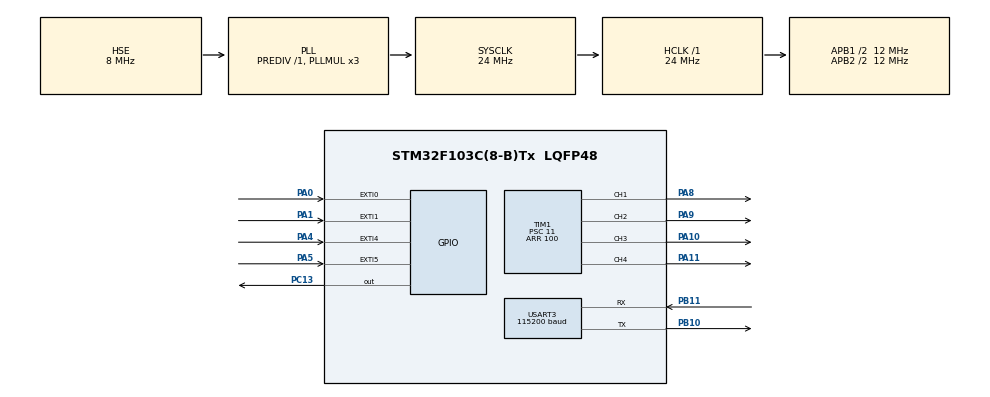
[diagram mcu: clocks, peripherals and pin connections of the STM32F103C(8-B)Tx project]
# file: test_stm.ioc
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Dma.Request0=USART3_TX
Dma.Request1=USART3_RX
Dma.USART3_RX.1.Direction=DMA_PERIPH_TO_MEMORY
Dma.USART3_RX.1.Instance=DMA1_Channel3
Dma.USART3_RX.1.MemDataAlignment=DMA_MDATAALIGN_BYTE
Dma.USART3_RX.1.MemInc=DMA_MINC_ENABLE
Dma.USART3_RX.1.Mode=DMA_NORMAL
Dma.USART3_RX.1.PeriphDataAlignment=DMA_PDATAALIGN_BYTE
Dma.USART3_RX.1.PeriphInc=DMA_PINC_DISABLE
Dma.USART3_RX.1.Priority=DMA_PRIORITY_MEDIUM
Dma.USART3_TX.0.Direction=DMA_MEMORY_TO_PERIPH
Dma.USART3_TX.0.Instance=DMA1_Channel2
Dma.USART3_TX.0.MemDataAlignment=DMA_MDATAALIGN_BYTE
Dma.USART3_TX.0.MemInc=DMA_MINC_ENABLE
Dma.USART3_TX.0.Mode=DMA_NORMAL
Dma.USART3_TX.0.PeriphDataAlignment=DMA_PDATAALIGN_BYTE
Dma.USART3_TX.0.PeriphInc=DMA_PINC_DISABLE
Dma.USART3_TX.0.Priority=DMA_PRIORITY_MEDIUM
Mcu.Family=STM32F1
Mcu.Name=STM32F103C(8-B)Tx
Mcu.Package=LQFP48
NVIC.DMA1_Channel2_IRQn=true\:2\:0\:true\:false\:true\:false\:true\:true
NVIC.DMA1_Channel3_IRQn=true\:2\:0\:true\:false\:true\:false\:true\:true
NVIC.EXTI0_IRQn=true\:0\:0\:false\:false\:true\:true\:true\:true
NVIC.EXTI1_IRQn=true\:0\:0\:false\:false\:true\:true\:true\:true
NVIC.EXTI4_IRQn=true\:0\:0\:false\:false\:true\:true\:true\:true
NVIC.EXTI9_5_IRQn=true\:0\:0\:false\:false\:true\:true\:true\:true
NVIC.PriorityGroup=NVIC_PRIORITYGROUP_4
NVIC.TIM2_IRQn=true\:1\:0\:true\:false\:true\:true\:true\:true
NVIC.USART3_IRQn=true\:2\:0\:true\:false\:true\:true\:true\:true
PA0-WKUP.GPIO_ModeDefaultEXTI=GPIO_MODE_IT_RISING_FALLING
PA0-WKUP.GPIO_PuPd=GPIO_PULLUP
PA0-WKUP.Signal=GPXTI0
PA1.GPIO_ModeDefaultEXTI=GPIO_MODE_IT_RISING_FALLING
PA1.GPIO_PuPd=GPIO_PULLUP
PA1.Signal=GPXTI1
PA10.Signal=S_TIM1_CH3
PA11.Signal=S_TIM1_CH4
PA13.Mode=Serial_Wire
PA13.Signal=SYS_JTMS-SWDIO
PA14.Mode=Serial_Wire
PA14.Signal=SYS_JTCK-SWCLK
PA4.GPIO_ModeDefaultEXTI=GPIO_MODE_IT_RISING_FALLING
PA4.GPIO_PuPd=GPIO_PULLUP
PA4.Signal=GPXTI4
PA5.GPIO_ModeDefaultEXTI=GPIO_MODE_IT_RISING_FALLING
PA5.GPIO_PuPd=GPIO_PULLUP
PA5.Signal=GPXTI5
PA8.Signal=S_TIM1_CH1
PA9.Signal=S_TIM1_CH2
PB10.Mode=Asynchronous
PB10.Signal=USART3_TX
PB11.Mode=Asynchronous
PB11.Signal=USART3_RX
PC13-TAMPER-RTC.Signal=GPIO_Output
PD0-OSC_IN.Mode=HSE-External-Oscillator
PD0-OSC_IN.Signal=RCC_OSC_IN
PD1-OSC_OUT.Mode=HSE-External-Oscillator
PD1-OSC_OUT.Signal=RCC_OSC_OUT
ProjectManager.HeapSize=0x200
ProjectManager.StackSize=0x400
ProjectManager.TargetToolchain=MDK-ARM V5.32
RCC.AHBFreq_Value=24000000
RCC.APB1CLKDivider=RCC_HCLK_DIV2
RCC.APB1Freq_Value=12000000
RCC.APB1TimFreq_Value=24000000
RCC.APB2CLKDivider=RCC_HCLK_DIV2
RCC.APB2Freq_Value=12000000
RCC.APB2TimFreq_Value=24000000
RCC.HCLKFreq_Value=24000000
RCC.PLLMUL=RCC_PLL_MUL3
RCC.PLLSourceVirtual=RCC_PLLSOURCE_HSE
RCC.SYSCLKFreq_VALUE=24000000
RCC.SYSCLKSource=RCC_SYSCLKSOURCE_PLLCLK
RCC.USBFreq_Value=24000000
SH.S_TIM1_CH1.0=TIM1_CH1,PWM Generation1 CH1
SH.S_TIM1_CH2.0=TIM1_CH2,PWM Generation2 CH2
SH.S_TIM1_CH3.0=TIM1_CH3,PWM Generation3 CH3
SH.S_TIM1_CH4.0=TIM1_CH4,PWM Generation4 CH4
TIM1.Channel-PWM\ Generation1\ CH1=TIM_CHANNEL_1
TIM1.Channel-PWM\ Generation2\ CH2=TIM_CHANNEL_2
TIM1.Channel-PWM\ Generation3\ CH3=TIM_CHANNEL_3
TIM1.Channel-PWM\ Generation4\ CH4=TIM_CHANNEL_4
TIM1.Period=100
TIM1.Prescaler=11
TIM2.Period=19
TIM2.Prescaler=23999
USART3.BaudRate=115200
USART3.VirtualMode=VM_ASYNC
VP_TIM2_VS_ClockSourceINT.Mode=Internal
board=custom

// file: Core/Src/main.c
/* USER CODE BEGIN Header */
/**
 ******************************************************************************
 * @file           : main.c
 * @brief          : Main program body
 ******************************************************************************
 * @attention
 *
 * Copyright (c) 2025 STMicroelectronics.
 * All rights reserved.
 *
 * This software is licensed under terms that can be found in the LICENSE file
 * in the root directory of this software component.
 * If no LICENSE file comes with this software, it is provided AS-IS.
 *
 ******************************************************************************
 */
/* USER CODE END Header */
#include "main.h"

/* USER CODE BEGIN Includes */
#include "string.h"
#include "stdio.h"
#include "stdlib.h"
#include "stdbool.h"
#include "driver_motors.h"
#include <math.h>

/* USER CODE END Includes */

/* USER CODE BEGIN PD */
#define LEFT_ENCODER_CHANNEL_1  GPIO_PIN_0
#define LEFT_ENCODER_CHANNEL_2  GPIO_PIN_1
#define RIGHT_ENCODER_CHANNEL_1 GPIO_PIN_4
#define RIGHT_ENCODER_CHANNEL_2 GPIO_PIN_5
#define ROS_TIMEOUT             (uint32_t)120000

#define UART_PACKET_SIZE 11

#define UART_TX_POLLING 0x01
#define UART_TX_DMA     0x02
#define UART_TX_MODE    UART_TX_DMA

#define UART_RX_IT   0x03
#define UART_RX_DMA  0x04
#define UART_RX_MODE UART_RX_DMA

/* USER CODE END PD */

TIM_HandleTypeDef htim1;
TIM_HandleTypeDef htim2;

UART_HandleTypeDef huart3;
DMA_HandleTypeDef  hdma_usart3_tx;
DMA_HandleTypeDef  hdma_usart3_rx;

/* USER CODE BEGIN PV */
// ============================== variables for velocity control =============================//
float vel_rad_s_left  = 0.0f;
float vel_rad_s_right = 0.0f;

volatile uint32_t ecd_pulse_non_direction_left  = 0;
volatile uint32_t ecd_pulse_non_direction_right = 0;

// velocities received command from rasp (linear and angular)
volatile float Vx = 0.0f;
volatile float Vw = 0.0f;
// transform command into velocitie for each wheel
float V_left_required  = 0.0f;
float V_right_required = 0.0f;
// value that will be passed into the pid calculation function
float V_left  = 0.0f;
float V_right = 0.0f;

// ================================ variables for PID algorithm ===============================//
float delta_t              = 0;
float scale_encoder_to_vel = 0;

int16_t left_pwm = 0;
// Set PID parameters for left motor here
float Kp_left    = 8.82017f;
float Ki_left    = 157.56804f;
float Kb_left    = 17.86451f;
float Kd_left    = 0.0f;
float anpha_left = 0.0f;

int16_t right_pwm = 0;
// Set PID parameters for right motor here
float Kp_right    = 8.82017f;
float Ki_right    = 157.56804f;
float Kb_right    = 17.86451f;
float Kd_right    = 0.0f;
float anpha_right = 0.0f;

// ============================= variables for vehicle model ===================================//
float wheel_base   = 0.268f;
float wheel_radius = 0.035f;

// ================= variables for communication between stm and rasp (UART) ===================//
bool              need_soft_reset     = false;
volatile uint8_t  interrupt_timer_cnt = 0;
uint8_t           received_data_from_rasp[UART_PACKET_SIZE];
uint8_t           transmit_data_to_rasp[UART_PACKET_SIZE];
volatile bool     uart_ready        = true;
volatile uint32_t last_ros_cmd_time = 0;

/* USER CODE END PV */

void        SystemClock_Config(void);
static void MX_GPIO_Init(void);
static void MX_DMA_Init(void);
static void MX_USART3_UART_Init(void);
static void MX_TIM1_Init(void);
static void MX_TIM2_Init(void);

/* USER CODE BEGIN 0 */
/*
 * Retargetting printf for uart debug
 */
int fputc(int ch, FILE *f);

/*
 * This function handles data (velocities of two wheel) and sends it to raspberry
 */
void send_velocity();

/*
 soft reset system
*/
void soft_reset(void);

/*
 ramp velocities
*/
static inline float ramp(float current, float target, float step);

/*
 using this function to automatically get frequency of TIMER which is used to create interrupt
*/
uint32_t get_timer_clock_freq(TIM_HandleTypeDef *htim);

/* USER CODE END 0 */

int main(void)
{

  /* MCU Configuration--------------------------------------------------------*/

  /* Reset of all peripherals, Initializes the Flash interface and the Systick. */
  HAL_Init();

  /* Configure the system clock */
  SystemClock_Config();

  /* Initialize all configured peripherals */
  MX_GPIO_Init();
  MX_DMA_Init();
  MX_USART3_UART_Init();
  MX_TIM1_Init();
  MX_TIM2_Init();
  /* USER CODE BEGIN 2 */
  // initialize timer 1, channel 1 and channel 2 for left motor
  HAL_TIM_PWM_Start(&htim1, TIM_CHANNEL_1);
  HAL_TIM_PWM_Start(&htim1, TIM_CHANNEL_2);
  __HAL_TIM_SET_COMPARE(&htim1, TIM_CHANNEL_1, 0);
  __HAL_TIM_SET_COMPARE(&htim1, TIM_CHANNEL_2, 0);

  // initialize timer 1, channel 3 and channel 4 for right motor
  HAL_TIM_PWM_Start(&htim1, TIM_CHANNEL_3);
  HAL_TIM_PWM_Start(&htim1, TIM_CHANNEL_4);
  __HAL_TIM_SET_COMPARE(&htim1, TIM_CHANNEL_3, 0);
  __HAL_TIM_SET_COMPARE(&htim1, TIM_CHANNEL_4, 0);

  // interrupt timer 2 for velocities calculation (from pulses of encoders)
  HAL_TIM_Base_Start_IT(&htim2);

// interrupt uart 3 for to receive data
#if UART_RX_MODE == UART_RX_DMA
  HAL_UART_Receive_DMA(&huart3, received_data_from_rasp, sizeof(received_data_from_rasp));
#elif UART_RX_MODE == UART_RX_IT
  HAL_UART_Receive_IT(&huart3, received_data_from_rasp, sizeof(received_data_from_rasp));
#else
#error "Invalid UART_RX_MODE"
#endif

  // signal led (turn off), it will turn on when Vx > 0 (robot moving)
  HAL_GPIO_WritePin(GPIOC, GPIO_PIN_13, GPIO_PIN_SET);

  // calculate parameters that are constant and do not need to update
  float    half_base   = wheel_base / 2.0f;
  uint32_t timer_clk   = get_timer_clock_freq(&htim2);
  delta_t              = ((htim2.Init.Period + 1.0f) * (htim2.Init.Prescaler + 1.0f)) / (float)timer_clk;
  scale_encoder_to_vel = (2.0f * PI) / (X4_ENCODING * delta_t);

  /* USER CODE END 2 */

  /* Infinite loop */
  while (1)
  {

    /* USER CODE BEGIN 3 */
    // if raspberry asks stm to reset itself
    if (need_soft_reset)
      soft_reset();

    // signal led informs robot is moving
    HAL_GPIO_WritePin(GPIOC, GPIO_PIN_13, Vx > 0 ? GPIO_PIN_RESET : GPIO_PIN_SET);

    // send velocities to rasp every (2 x 20) (ms) (25Hz)
    if (interrupt_timer_cnt == 2)
    {
      send_velocity();
      // printf("V%f\n\r", vel_rad_s_right);
      interrupt_timer_cnt = 0;
    }

    // auto stop after a period of time that do not receive any velocities command from rasp
    if (HAL_GetTick() - last_ros_cmd_time > ROS_TIMEOUT)
    {
      Vx = 0;
      Vw = 0;
      __HAL_TIM_SET_COMPARE(&htim1, TIM_CHANNEL_1, 0);
      __HAL_TIM_SET_COMPARE(&htim1, TIM_CHANNEL_2, 0);
      __HAL_TIM_SET_COMPARE(&htim1, TIM_CHANNEL_3, 0);
      __HAL_TIM_SET_COMPARE(&htim1, TIM_CHANNEL_4, 0);
      NVIC_SystemReset();
    }

    // transform linear and angular velocities into required velocities for two wheels
    V_left_required  = (Vx - Vw * half_base) / wheel_radius;
    V_right_required = (Vx + Vw * half_base) / wheel_radius;
    V_left           = ramp(V_left, V_left_required, 0.01f);
    V_right          = ramp(V_right, V_right_required, 0.01f);
  }
  /* USER CODE END 3 */
}

void SystemClock_Config(void)
{
  RCC_OscInitTypeDef RCC_OscInitStruct = {0};
  RCC_ClkInitTypeDef RCC_ClkInitStruct = {0};

  /** Initializes the RCC Oscillators according to the specified parameters
   * in the RCC_OscInitTypeDef structure.
   */
  RCC_OscInitStruct.OscillatorType = RCC_OSCILLATORTYPE_HSE;
  RCC_OscInitStruct.HSEState       = RCC_HSE_ON;
  RCC_OscInitStruct.HSEPredivValue = RCC_HSE_PREDIV_DIV1;
  RCC_OscInitStruct.HSIState       = RCC_HSI_ON;
  RCC_OscInitStruct.PLL.PLLState   = RCC_PLL_ON;
  RCC_OscInitStruct.PLL.PLLSource  = RCC_PLLSOURCE_HSE;
  RCC_OscInitStruct.PLL.PLLMUL     = RCC_PLL_MUL3;
  if (HAL_RCC_OscConfig(&RCC_OscInitStruct) != HAL_OK)
  {
    Error_Handler();
  }

  /** Initializes the CPU, AHB and APB buses clocks
   */
  RCC_ClkInitStruct.ClockType =
    RCC_CLOCKTYPE_HCLK | RCC_CLOCKTYPE_SYSCLK | RCC_CLOCKTYPE_PCLK1 | RCC_CLOCKTYPE_PCLK2;
  RCC_ClkInitStruct.SYSCLKSource   = RCC_SYSCLKSOURCE_PLLCLK;
  RCC_ClkInitStruct.AHBCLKDivider  = RCC_SYSCLK_DIV1;
  RCC_ClkInitStruct.APB1CLKDivider = RCC_HCLK_DIV2;
  RCC_ClkInitStruct.APB2CLKDivider = RCC_HCLK_DIV2;

  if (HAL_RCC_ClockConfig(&RCC_ClkInitStruct, FLASH_LATENCY_0) != HAL_OK)
  {
    Error_Handler();
  }
}

static void MX_TIM1_Init(void)
{

  TIM_MasterConfigTypeDef        sMasterConfig        = {0};
  TIM_OC_InitTypeDef             sConfigOC            = {0};
  TIM_BreakDeadTimeConfigTypeDef sBreakDeadTimeConfig = {0};

  htim1.Instance               = TIM1;
  htim1.Init.Prescaler         = 11;
  htim1.Init.CounterMode       = TIM_COUNTERMODE_UP;
  htim1.Init.Period            = 100;
  htim1.Init.ClockDivision     = TIM_CLOCKDIVISION_DIV1;
  htim1.Init.RepetitionCounter = 0;
  htim1.Init.AutoReloadPreload = TIM_AUTORELOAD_PRELOAD_DISABLE;
  if (HAL_TIM_PWM_Init(&htim1) != HAL_OK)
  {
    Error_Handler();
  }
  sMasterConfig.MasterOutputTrigger = TIM_TRGO_RESET;
  sMasterConfig.MasterSlaveMode     = TIM_MASTERSLAVEMODE_DISABLE;
  if (HAL_TIMEx_MasterConfigSynchronization(&htim1, &sMasterConfig) != HAL_OK)
  {
    Error_Handler();
  }
  sConfigOC.OCMode       = TIM_OCMODE_PWM1;
  sConfigOC.Pulse        = 0;
  sConfigOC.OCPolarity   = TIM_OCPOLARITY_HIGH;
  sConfigOC.OCNPolarity  = TIM_OCNPOLARITY_HIGH;
  sConfigOC.OCFastMode   = TIM_OCFAST_DISABLE;
  sConfigOC.OCIdleState  = TIM_OCIDLESTATE_RESET;
  sConfigOC.OCNIdleState = TIM_OCNIDLESTATE_RESET;
  if (HAL_TIM_PWM_ConfigChannel(&htim1, &sConfigOC, TIM_CHANNEL_1) != HAL_OK)
  {
    Error_Handler();
  }
  if (HAL_TIM_PWM_ConfigChannel(&htim1, &sConfigOC, TIM_CHANNEL_2) != HAL_OK)
  {
    Error_Handler();
  }
  if (HAL_TIM_PWM_ConfigChannel(&htim1, &sConfigOC, TIM_CHANNEL_3) != HAL_OK)
  {
    Error_Handler();
  }
  if (HAL_TIM_PWM_ConfigChannel(&htim1, &sConfigOC, TIM_CHANNEL_4) != HAL_OK)
  {
    Error_Handler();
  }
  sBreakDeadTimeConfig.OffStateRunMode  = TIM_OSSR_DISABLE;
  sBreakDeadTimeConfig.OffStateIDLEMode = TIM_OSSI_DISABLE;
  sBreakDeadTimeConfig.LockLevel        = TIM_LOCKLEVEL_OFF;
  sBreakDeadTimeConfig.DeadTime         = 0;
  sBreakDeadTimeConfig.BreakState       = TIM_BREAK_DISABLE;
  sBreakDeadTimeConfig.BreakPolarity    = TIM_BREAKPOLARITY_HIGH;
  sBreakDeadTimeConfig.AutomaticOutput  = TIM_AUTOMATICOUTPUT_DISABLE;
  if (HAL_TIMEx_ConfigBreakDeadTime(&htim1, &sBreakDeadTimeConfig) != HAL_OK)
  {
    Error_Handler();
  }
  HAL_TIM_MspPostInit(&htim1);
}

static void MX_TIM2_Init(void)
{

  TIM_ClockConfigTypeDef  sClockSourceConfig = {0};
  TIM_MasterConfigTypeDef sMasterConfig      = {0};

  htim2.Instance               = TIM2;
  htim2.Init.Prescaler         = 23999;
  htim2.Init.CounterMode       = TIM_COUNTERMODE_UP;
  htim2.Init.Period            = 19;
  htim2.Init.ClockDivision     = TIM_CLOCKDIVISION_DIV1;
  htim2.Init.AutoReloadPreload = TIM_AUTORELOAD_PRELOAD_DISABLE;
  if (HAL_TIM_Base_Init(&htim2) != HAL_OK)
  {
    Error_Handler();
  }
  sClockSourceConfig.ClockSource = TIM_CLOCKSOURCE_INTERNAL;
  if (HAL_TIM_ConfigClockSource(&htim2, &sClockSourceConfig) != HAL_OK)
  {
    Error_Handler();
  }
  sMasterConfig.MasterOutputTrigger = TIM_TRGO_RESET;
  sMasterConfig.MasterSlaveMode     = TIM_MASTERSLAVEMODE_DISABLE;
  if (HAL_TIMEx_MasterConfigSynchronization(&htim2, &sMasterConfig) != HAL_OK)
  {
    Error_Handler();
  }
}

static void MX_USART3_UART_Init(void)
{

  huart3.Instance          = USART3;
  huart3.Init.BaudRate     = 115200;
  huart3.Init.WordLength   = UART_WORDLENGTH_8B;
  huart3.Init.StopBits     = UART_STOPBITS_1;
  huart3.Init.Parity       = UART_PARITY_NONE;
  huart3.Init.Mode         = UART_MODE_TX_RX;
  huart3.Init.HwFlowCtl    = UART_HWCONTROL_NONE;
  huart3.Init.OverSampling = UART_OVERSAMPLING_16;
  if (HAL_UART_Init(&huart3) != HAL_OK)
  {
    Error_Handler();
  }
}

static void MX_DMA_Init(void)
{

  /* DMA controller clock enable */
  __HAL_RCC_DMA1_CLK_ENABLE();

  /* DMA interrupt init */
  /* DMA1_Channel2_IRQn interrupt configuration */
  HAL_NVIC_SetPriority(DMA1_Channel2_IRQn, 2, 0);
  HAL_NVIC_EnableIRQ(DMA1_Channel2_IRQn);
  /* DMA1_Channel3_IRQn interrupt configuration */
  HAL_NVIC_SetPriority(DMA1_Channel3_IRQn, 2, 0);
  HAL_NVIC_EnableIRQ(DMA1_Channel3_IRQn);
}

static void MX_GPIO_Init(void)
{
  GPIO_InitTypeDef GPIO_InitStruct = {0};

  /* GPIO Ports Clock Enable */
  __HAL_RCC_GPIOC_CLK_ENABLE();
  __HAL_RCC_GPIOD_CLK_ENABLE();
  __HAL_RCC_GPIOA_CLK_ENABLE();
  __HAL_RCC_GPIOB_CLK_ENABLE();

  /*Configure GPIO pin Output Level */
  HAL_GPIO_WritePin(GPIOC, GPIO_PIN_13, GPIO_PIN_RESET);

  /*Configure GPIO pin : PC13 */
  GPIO_InitStruct.Pin   = GPIO_PIN_13;
  GPIO_InitStruct.Mode  = GPIO_MODE_OUTPUT_PP;
  GPIO_InitStruct.Pull  = GPIO_NOPULL;
  GPIO_InitStruct.Speed = GPIO_SPEED_FREQ_LOW;
  HAL_GPIO_Init(GPIOC, &GPIO_InitStruct);

  /*Configure GPIO pins : PC14 PC15 */
  GPIO_InitStruct.Pin  = GPIO_PIN_14 | GPIO_PIN_15;
  GPIO_InitStruct.Mode = GPIO_MODE_ANALOG;
  HAL_GPIO_Init(GPIOC, &GPIO_InitStruct);

  /*Configure GPIO pins : PA0 PA1 PA4 PA5 */
  GPIO_InitStruct.Pin  = GPIO_PIN_0 | GPIO_PIN_1 | GPIO_PIN_4 | GPIO_PIN_5;
  GPIO_InitStruct.Mode = GPIO_MODE_IT_RISING_FALLING;
  GPIO_InitStruct.Pull = GPIO_PULLUP;
  HAL_GPIO_Init(GPIOA, &GPIO_InitStruct);

  /*Configure GPIO pins : PA2 PA3 PA6 PA7
                           PA12 PA15 */
  GPIO_InitStruct.Pin  = GPIO_PIN_2 | GPIO_PIN_3 | GPIO_PIN_6 | GPIO_PIN_7 | GPIO_PIN_12 | GPIO_PIN_15;
  GPIO_InitStruct.Mode = GPIO_MODE_ANALOG;
  HAL_GPIO_Init(GPIOA, &GPIO_InitStruct);

  /*Configure GPIO pins : PB0 PB1 PB2 PB12
                           PB13 PB14 PB15 PB3
                           PB4 PB5 PB6 PB7
                           PB8 PB9 */
  GPIO_InitStruct.Pin = GPIO_PIN_0 | GPIO_PIN_1 | GPIO_PIN_2 | GPIO_PIN_12 | GPIO_PIN_13 | GPIO_PIN_14 |
                        GPIO_PIN_15 | GPIO_PIN_3 | GPIO_PIN_4 | GPIO_PIN_5 | GPIO_PIN_6 | GPIO_PIN_7 |
                        GPIO_PIN_8 | GPIO_PIN_9;
  GPIO_InitStruct.Mode = GPIO_MODE_ANALOG;
  HAL_GPIO_Init(GPIOB, &GPIO_InitStruct);

  /* EXTI interrupt init*/
  HAL_NVIC_SetPriority(EXTI0_IRQn, 0, 0);
  HAL_NVIC_EnableIRQ(EXTI0_IRQn);

  HAL_NVIC_SetPriority(EXTI1_IRQn, 0, 0);
  HAL_NVIC_EnableIRQ(EXTI1_IRQn);

  HAL_NVIC_SetPriority(EXTI4_IRQn, 0, 0);
  HAL_NVIC_EnableIRQ(EXTI4_IRQn);

  HAL_NVIC_SetPriority(EXTI9_5_IRQn, 0, 0);
  HAL_NVIC_EnableIRQ(EXTI9_5_IRQn);

}

/* USER CODE BEGIN 4 */
/*======================================= USART 3 ==========================================*/
void HAL_UART_RxCpltCallback(UART_HandleTypeDef *huart)
{
  switch (received_data_from_rasp[0])
  {
  case 0xAA:
    if (received_data_from_rasp[1] == 0x01)
    {
      uint8_t sum = 0;
      for (uint8_t i = 0; i < 10; i++)
        sum += received_data_from_rasp[i];
      uint8_t checksum = ~sum & 0xFF;
      if (checksum == received_data_from_rasp[10])
      {
        memset(&Vx, 0, 4);
        memset(&Vw, 0, 4);
        memcpy(&Vx, &received_data_from_rasp[2], 4);
        memcpy(&Vw, &received_data_from_rasp[6], 4);
        last_ros_cmd_time = HAL_GetTick();
      }
    }
    break;
  case 0xFF:
    __HAL_TIM_SET_COMPARE(&htim1, TIM_CHANNEL_1, 0);
    __HAL_TIM_SET_COMPARE(&htim1, TIM_CHANNEL_2, 0);
    __HAL_TIM_SET_COMPARE(&htim1, TIM_CHANNEL_3, 0);
    __HAL_TIM_SET_COMPARE(&htim1, TIM_CHANNEL_4, 0);
    need_soft_reset = true;
    break;
  default:
    break;
  }

#if UART_RX_MODE == UART_RX_DMA
  HAL_UART_Receive_DMA(&huart3, received_data_from_rasp, sizeof(received_data_from_rasp));
#elif UART_RX_MODE == UART_RX_IT
  HAL_UART_Receive_IT(&huart3, received_data_from_rasp, sizeof(received_data_from_rasp));
#else
#error "Invalid UART_RX_MODE"
#endif
}

/**
 * @brief This function handles USART transmit DMA complete
 */
void HAL_UART_TxCpltCallback(UART_HandleTypeDef *huart)
{
  if (huart->Instance == USART3)
  {
    uart_ready = true;
  }
}
/*================================ READING ENCODER =====================================*/
/*================================== LEFT MOTOR ========================================*/
/**
 * @brief This function handles external 0 interrupt. Using this function to read encoder
 */
void EXTI0_IRQHandler(void)
{
  ecd_pulse_non_direction_left++;
  HAL_GPIO_EXTI_IRQHandler(LEFT_ENCODER_CHANNEL_1);
}

/**
 * @brief This function handles external 1 interrupt. Using this function to read encoder
 */
void EXTI1_IRQHandler(void)
{
  ecd_pulse_non_direction_left++;
  HAL_GPIO_EXTI_IRQHandler(LEFT_ENCODER_CHANNEL_2);
}

/*================================== RIGHT MOTOR ========================================*/
/**
 * @brief This function handles external 4 interrupt. Using this function to read encoder
 */
void EXTI4_IRQHandler(void)
{
  ecd_pulse_non_direction_right++;
  HAL_GPIO_EXTI_IRQHandler(RIGHT_ENCODER_CHANNEL_1);
}

/**
 * @brief This function handles external 5 interrupt. Using this function to read encoder
 */
void EXTI9_5_IRQHandler(void)
{
  ecd_pulse_non_direction_right++;
  HAL_GPIO_EXTI_IRQHandler(RIGHT_ENCODER_CHANNEL_2);
}

/*================================ TIMER INTERRUPT ========================================*/
/**
 * @brief This function handles timer interrupt. Using this function to create sample time, and do other tasks
 */
void HAL_TIM_PeriodElapsedCallback(TIM_HandleTypeDef *htim)
{
  if (htim->Instance == TIM2)
  {
    // Calculate velocity of left motor and control
    vel_rad_s_left               = ecd_pulse_non_direction_left * scale_encoder_to_vel;
    ecd_pulse_non_direction_left = 0;
    if (V_left >= 0)
    {
      left_pwm = pid_left(V_left, vel_rad_s_left, Kp_left, Ki_left, Kb_left, delta_t);
      __HAL_TIM_SET_COMPARE(&htim1, TIM_CHANNEL_1, 0);         // set pwm
      __HAL_TIM_SET_COMPARE(&htim1, TIM_CHANNEL_2, left_pwm);  // set pwm
    }
    else
    {
      left_pwm = pid_left(-V_left, vel_rad_s_left, Kp_left, Ki_left, Kb_left, delta_t);
      __HAL_TIM_SET_COMPARE(&htim1, TIM_CHANNEL_1, left_pwm);  // set pwm
      __HAL_TIM_SET_COMPARE(&htim1, TIM_CHANNEL_2, 0);         // set pwm
    }

    // Calculate velocity of right motor and control
    vel_rad_s_right               = ecd_pulse_non_direction_right * scale_encoder_to_vel;
    ecd_pulse_non_direction_right = 0;
    if (V_right >= 0)
    {
      right_pwm = pid_right(V_right, vel_rad_s_right, Kp_right, Ki_right, Kb_right, delta_t);
      __HAL_TIM_SetCompare(&htim1, TIM_CHANNEL_3, 0);          // set pwm
      __HAL_TIM_SetCompare(&htim1, TIM_CHANNEL_4, right_pwm);  // set pwm
    }
    else
    {
      right_pwm = pid_right(-V_right, vel_rad_s_right, Kp_right, Ki_right, Kb_right, delta_t);
      __HAL_TIM_SetCompare(&htim1, TIM_CHANNEL_3, right_pwm);  // set pwm
      __HAL_TIM_SetCompare(&htim1, TIM_CHANNEL_4, 0);          // set pwm
    }

    // Transmite data and plot diagram
    interrupt_timer_cnt = interrupt_timer_cnt + 1;
  }
}

void soft_reset(void)
{
  NVIC_SystemReset();
}

void send_velocity()
{
  uint8_t  idx = 0;
  uint8_t *ptr;
  memset(transmit_data_to_rasp, 0, sizeof(transmit_data_to_rasp));

  transmit_data_to_rasp[idx++] = 0xAA;  // Header of STM32 (DC servo)
  transmit_data_to_rasp[idx++] = 0x01;  // id

  if (V_left >= 0 && V_right >= 0)
  {
    ptr = (uint8_t *)&vel_rad_s_left;
    for (uint8_t i = 0; i < 4; i++)
      transmit_data_to_rasp[idx++] = ptr[i];
    ptr = (uint8_t *)&vel_rad_s_right;
    for (uint8_t i = 0; i < 4; i++)
      transmit_data_to_rasp[idx++] = ptr[i];
  }
  else if (V_left < 0 && V_right < 0)
  {
    float neg_left  = -vel_rad_s_left;
    float neg_right = -vel_rad_s_right;
    ptr             = (uint8_t *)&neg_left;
    for (uint8_t i = 0; i < 4; i++)
      transmit_data_to_rasp[idx++] = ptr[i];
    ptr = (uint8_t *)&neg_right;
    for (uint8_t i = 0; i < 4; i++)
      transmit_data_to_rasp[idx++] = ptr[i];
  }
  else if (V_left >= 0 && V_right < 0)
  {
    float neg_right = -vel_rad_s_right;
    ptr             = (uint8_t *)&vel_rad_s_left;
    for (uint8_t i = 0; i < 4; i++)
      transmit_data_to_rasp[idx++] = ptr[i];
    ptr = (uint8_t *)&neg_right;
    for (uint8_t i = 0; i < 4; i++)
      transmit_data_to_rasp[idx++] = ptr[i];
  }
  else if (V_left < 0 && V_right >= 0)
  {
    float neg_left = -vel_rad_s_left;
    ptr            = (uint8_t *)&neg_left;
    for (uint8_t i = 0; i < 4; i++)
      transmit_data_to_rasp[idx++] = ptr[i];
    ptr = (uint8_t *)&vel_rad_s_right;
    for (uint8_t i = 0; i < 4; i++)
      transmit_data_to_rasp[idx++] = ptr[i];
  }

  uint8_t sum = 0;
  for (uint8_t i = 0; i < 10; i++)
    sum += transmit_data_to_rasp[i];
  transmit_data_to_rasp[idx++] = ~sum;

#if UART_TX_MODE == UART_TX_DMA
  if (uart_ready)
  {
    HAL_UART_Transmit_DMA(&huart3, transmit_data_to_rasp, sizeof(transmit_data_to_rasp));
    uart_ready = false;
  }
#elif UART_TX_MODE == UART_TX_POLLING
  HAL_UART_Transmit(&huart3, transmit_data_to_rasp, sizeof(transmit_data_to_rasp), 2000);
#else
#error "Invalid UART_TX_MODE"
#endif
}

static inline float ramp(float current, float target, float step)
{
  if (current < target)
    return fmin(current + step, target);
  else if (current > target)
    return fmax(current - step, target);
  else
    return target;
}

uint32_t get_timer_clock_freq(TIM_HandleTypeDef *htim)
{
  if (htim->Instance == TIM1)  // TIM1 or TIM8
  {
    uint32_t pclk = HAL_RCC_GetPCLK2Freq();
    if ((RCC->CFGR & RCC_CFGR_PPRE2) != RCC_CFGR_PPRE2_DIV1)
      return pclk * 2;
    else
      return pclk;
  }
  else  // TIM2-TIM7, TIM12-14
  {
    uint32_t pclk = HAL_RCC_GetPCLK1Freq();
    if ((RCC->CFGR & RCC_CFGR_PPRE1) != RCC_CFGR_PPRE1_DIV1)
      return pclk * 2;
    else
      return pclk;
  }
}

int fputc(int ch, FILE *f)
{
  HAL_UART_Transmit(&huart3, (uint8_t *)&ch, 1, 100);
  return ch;
}

/* USER CODE END 4 */

void Error_Handler(void)
{
  __disable_irq();
  while (1)
  {
  }
}
